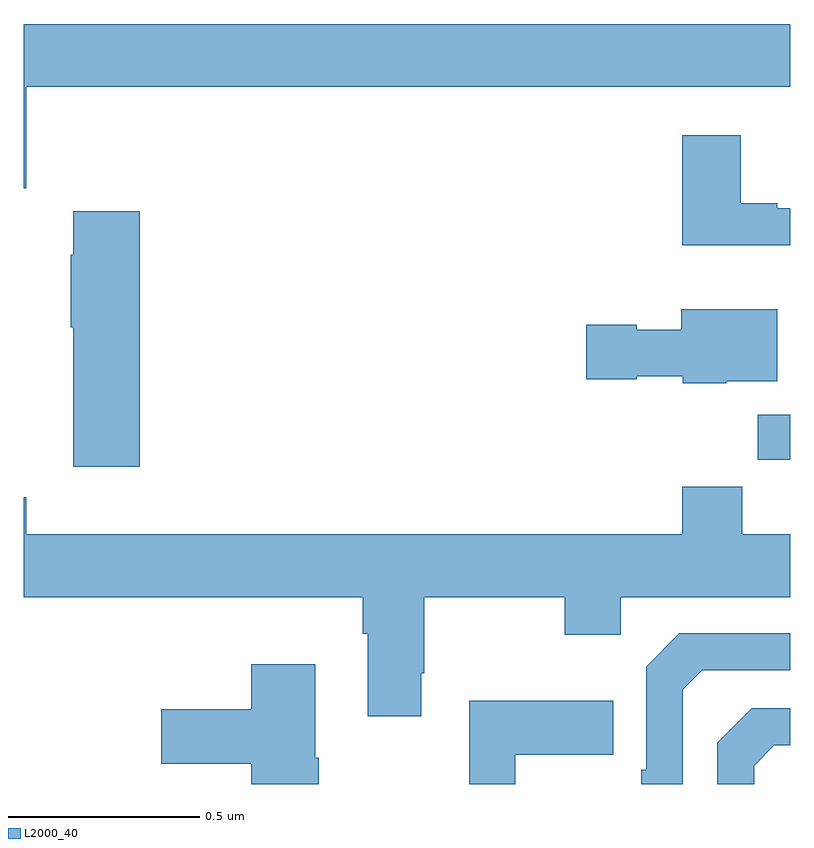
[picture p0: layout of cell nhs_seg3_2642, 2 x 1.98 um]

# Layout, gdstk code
import gdstk
lib = gdstk.Library(unit=1e-6, precision=1e-09)
def R(c, l, rs):  # rectangles x0, y0, x1, y1
    for r in rs: c.add(gdstk.rectangle(r[:2], r[2:], *l))
def P(c, l, *ps):  # polygons
    for p in ps: c.add(gdstk.Polygon(p, *l))
L2000_40 = (2000, 40)

nhs_seg3_2642 = lib.new_cell('nhs_seg3_2642')
R(nhs_seg3_2642, L2000_40, [(144.916,729.246,145,729.364)])
P(nhs_seg3_2642, L2000_40, [(143.006,730.22),(145,730.22),(145,730.384),(143,730.384),(143,729.955),(143.006,729.955)],
  [(145,729.903),(144.967,729.903),(144.967,729.916),(144.871,729.916),(144.871,730.093),(144.719,730.093),(144.719,729.806),(145,729.806)],
  [(143.302,729.895),(143.129,729.895),(143.129,729.782),(143.122,729.782),(143.122,729.593),(143.129,729.593),(143.129,729.228),(143.302,729.228)],
  [(144.834,729.452),(144.967,729.452),(144.967,729.64),(144.716,729.64),(144.716,729.586),(144.6,729.586),(144.6,729.599),(144.468,729.599),(144.468,729.457),(144.6,729.457),(144.6,729.464),(144.72,729.464),(144.72,729.446),(144.834,729.446)],
  [(143,729.148),(143,728.888),(143.885,728.888),(143.885,728.792),(143.897,728.792),(143.897,728.577),(144.037,728.577),(144.037,728.689),(144.045,728.689),(144.045,728.888),(144.412,728.888),(144.412,728.789),(144.558,728.789),(144.558,728.888),(145,728.888),(145,729.052),(144.875,729.052),(144.875,729.176),(144.719,729.176),(144.719,729.052),(143.006,729.052),(143.006,729.148)],
  [(144.72,728.646),(144.771,728.697),(145,728.697),(145,728.793),(144.711,728.793),(144.624,728.706),(144.624,728.437),(144.612,728.437),(144.612,728.4),(144.72,728.4)],
  [(143.769,728.469),(143.761,728.469),(143.761,728.713),(143.594,728.713),(143.594,728.595),(143.358,728.595),(143.358,728.453),(143.594,728.453),(143.594,728.4),(143.769,728.4)],
  [(144.283,728.477),(144.539,728.477),(144.539,728.617),(144.162,728.617),(144.162,728.4),(144.283,728.4)],
  [(144.906,728.448),(144.959,728.501),(145,728.501),(145,728.598),(144.9,728.598),(144.81,728.508),(144.81,728.4),(144.906,728.4)])

lib.write_gds('nhs_seg3_2642.gds')
